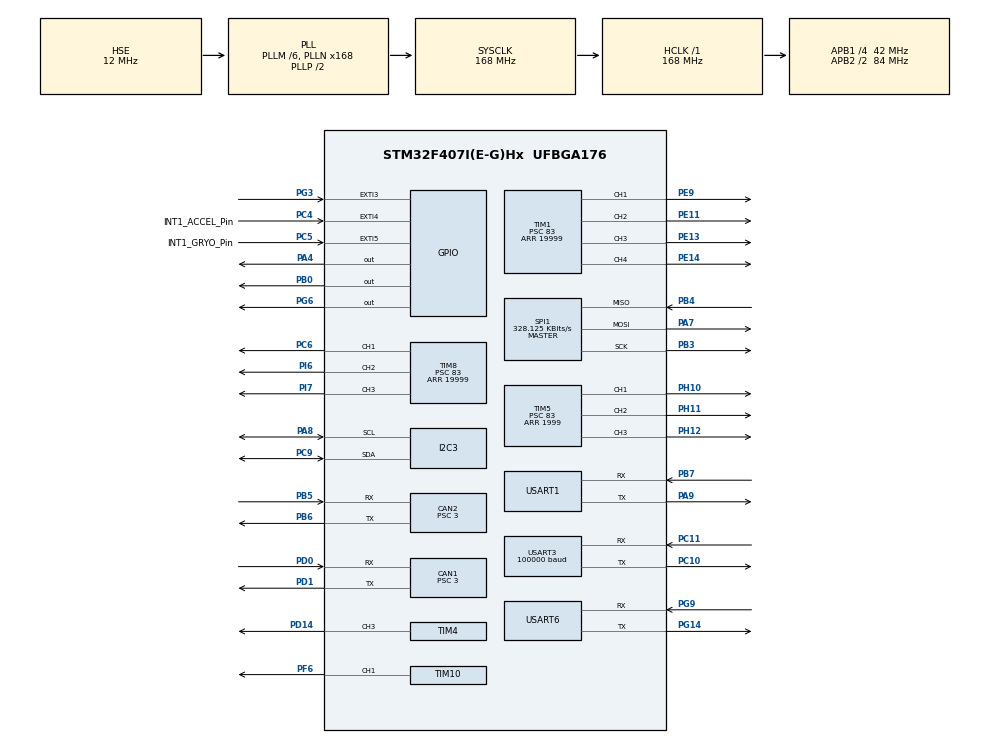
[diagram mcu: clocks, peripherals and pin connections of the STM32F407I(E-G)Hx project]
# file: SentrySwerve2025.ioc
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CAN1.BS1=CAN_BS1_10TQ
CAN1.BS2=CAN_BS2_3TQ
CAN1.CalculateBaudRate=1000000
CAN1.CalculateTimeBit=1000
CAN1.CalculateTimeQuantum=71.42857142857143
CAN1.Prescaler=3
CAN2.BS1=CAN_BS1_10TQ
CAN2.BS2=CAN_BS2_3TQ
CAN2.CalculateBaudRate=1000000
CAN2.CalculateTimeBit=1000
CAN2.CalculateTimeQuantum=71.42857142857143
CAN2.Prescaler=3
Dma.Request0=USART3_RX
Dma.Request1=USART1_TX
Dma.Request2=USART1_RX
Dma.Request3=USART6_RX
Dma.Request4=USART6_TX
Dma.Request5=TIM4_CH3
Dma.Request6=TIM5_CH1
Dma.Request7=TIM5_CH2
Dma.TIM4_CH3.5.Direction=DMA_PERIPH_TO_MEMORY
Dma.TIM4_CH3.5.FIFOMode=DMA_FIFOMODE_DISABLE
Dma.TIM4_CH3.5.Instance=DMA1_Stream7
Dma.TIM4_CH3.5.MemDataAlignment=DMA_MDATAALIGN_HALFWORD
Dma.TIM4_CH3.5.MemInc=DMA_MINC_ENABLE
Dma.TIM4_CH3.5.Mode=DMA_NORMAL
Dma.TIM4_CH3.5.PeriphDataAlignment=DMA_PDATAALIGN_HALFWORD
Dma.TIM4_CH3.5.PeriphInc=DMA_PINC_DISABLE
Dma.TIM4_CH3.5.Priority=DMA_PRIORITY_LOW
Dma.TIM5_CH1.6.Direction=DMA_PERIPH_TO_MEMORY
Dma.TIM5_CH1.6.FIFOMode=DMA_FIFOMODE_DISABLE
Dma.TIM5_CH1.6.Instance=DMA1_Stream2
Dma.TIM5_CH1.6.MemDataAlignment=DMA_MDATAALIGN_WORD
Dma.TIM5_CH1.6.MemInc=DMA_MINC_ENABLE
Dma.TIM5_CH1.6.Mode=DMA_NORMAL
Dma.TIM5_CH1.6.PeriphDataAlignment=DMA_PDATAALIGN_WORD
Dma.TIM5_CH1.6.PeriphInc=DMA_PINC_DISABLE
Dma.TIM5_CH1.6.Priority=DMA_PRIORITY_LOW
Dma.TIM5_CH2.7.Direction=DMA_PERIPH_TO_MEMORY
Dma.TIM5_CH2.7.FIFOMode=DMA_FIFOMODE_DISABLE
Dma.TIM5_CH2.7.Instance=DMA1_Stream4
Dma.TIM5_CH2.7.MemDataAlignment=DMA_MDATAALIGN_WORD
Dma.TIM5_CH2.7.MemInc=DMA_MINC_ENABLE
Dma.TIM5_CH2.7.Mode=DMA_NORMAL
Dma.TIM5_CH2.7.PeriphDataAlignment=DMA_PDATAALIGN_WORD
Dma.TIM5_CH2.7.PeriphInc=DMA_PINC_DISABLE
Dma.TIM5_CH2.7.Priority=DMA_PRIORITY_LOW
Dma.USART1_RX.2.Direction=DMA_PERIPH_TO_MEMORY
Dma.USART1_RX.2.FIFOMode=DMA_FIFOMODE_DISABLE
Dma.USART1_RX.2.Instance=DMA2_Stream2
Dma.USART1_RX.2.MemDataAlignment=DMA_MDATAALIGN_BYTE
Dma.USART1_RX.2.MemInc=DMA_MINC_ENABLE
Dma.USART1_RX.2.Mode=DMA_NORMAL
Dma.USART1_RX.2.PeriphDataAlignment=DMA_PDATAALIGN_BYTE
Dma.USART1_RX.2.PeriphInc=DMA_PINC_DISABLE
Dma.USART1_RX.2.Priority=DMA_PRIORITY_VERY_HIGH
Dma.USART1_TX.1.Direction=DMA_MEMORY_TO_PERIPH
Dma.USART1_TX.1.FIFOMode=DMA_FIFOMODE_DISABLE
Dma.USART1_TX.1.Instance=DMA2_Stream7
Dma.USART1_TX.1.MemDataAlignment=DMA_MDATAALIGN_BYTE
Dma.USART1_TX.1.MemInc=DMA_MINC_ENABLE
Dma.USART1_TX.1.Mode=DMA_NORMAL
Dma.USART1_TX.1.PeriphDataAlignment=DMA_PDATAALIGN_BYTE
Dma.USART1_TX.1.PeriphInc=DMA_PINC_DISABLE
Dma.USART1_TX.1.Priority=DMA_PRIORITY_VERY_HIGH
Dma.USART3_RX.0.Direction=DMA_PERIPH_TO_MEMORY
Dma.USART3_RX.0.FIFOMode=DMA_FIFOMODE_DISABLE
Dma.USART3_RX.0.Instance=DMA1_Stream1
Dma.USART3_RX.0.MemDataAlignment=DMA_MDATAALIGN_BYTE
Dma.USART3_RX.0.MemInc=DMA_MINC_ENABLE
Dma.USART3_RX.0.Mode=DMA_CIRCULAR
Dma.USART3_RX.0.PeriphDataAlignment=DMA_PDATAALIGN_BYTE
Dma.USART3_RX.0.PeriphInc=DMA_PINC_DISABLE
Dma.USART3_RX.0.Priority=DMA_PRIORITY_VERY_HIGH
Dma.USART6_RX.3.Direction=DMA_PERIPH_TO_MEMORY
Dma.USART6_RX.3.FIFOMode=DMA_FIFOMODE_DISABLE
Dma.USART6_RX.3.Instance=DMA2_Stream1
Dma.USART6_RX.3.MemDataAlignment=DMA_MDATAALIGN_BYTE
Dma.USART6_RX.3.MemInc=DMA_MINC_ENABLE
Dma.USART6_RX.3.Mode=DMA_NORMAL
Dma.USART6_RX.3.PeriphDataAlignment=DMA_PDATAALIGN_BYTE
Dma.USART6_RX.3.PeriphInc=DMA_PINC_DISABLE
Dma.USART6_RX.3.Priority=DMA_PRIORITY_VERY_HIGH
Dma.USART6_TX.4.Direction=DMA_MEMORY_TO_PERIPH
Dma.USART6_TX.4.FIFOMode=DMA_FIFOMODE_DISABLE
Dma.USART6_TX.4.Instance=DMA2_Stream6
Dma.USART6_TX.4.MemDataAlignment=DMA_MDATAALIGN_BYTE
Dma.USART6_TX.4.MemInc=DMA_MINC_ENABLE
Dma.USART6_TX.4.Mode=DMA_NORMAL
Dma.USART6_TX.4.PeriphDataAlignment=DMA_PDATAALIGN_BYTE
Dma.USART6_TX.4.PeriphInc=DMA_PINC_DISABLE
Dma.USART6_TX.4.Priority=DMA_PRIORITY_VERY_HIGH
FREERTOS.INCLUDE_pcTaskGetTaskName=1
FREERTOS.INCLUDE_xTaskGetHandle=1
FREERTOS.Tasks01=defaultTask,32,1024,TaskMain,Default,NULL,Dynamic,NULL,NULL;chassisTask,40,1124,TaskChassis,Default,NULL,Dynamic,NULL,NULL;IMUtempPIDtask,24,512,imu_temp_control_task,As weak,NULL,Dynamic,NULL,NULL;turretTask,40,1024,TaskTurret,Default,NULL,Dynamic,NULL,NULL
FREERTOS.configUSE_NEWLIB_REENTRANT=1
I2C3.I2C_Mode=I2C_Fast
Mcu.Family=STM32F4
Mcu.Name=STM32F407I(E-G)Hx
Mcu.Package=UFBGA176
NVIC.CAN1_RX0_IRQn=true\:5\:0\:false\:false\:true\:true\:true\:true\:true
NVIC.CAN2_RX0_IRQn=true\:5\:0\:false\:false\:true\:true\:true\:true\:true
NVIC.DMA1_Stream1_IRQn=true\:5\:0\:false\:false\:true\:true\:false\:true\:true
NVIC.DMA1_Stream2_IRQn=true\:5\:0\:false\:false\:true\:true\:false\:true\:true
NVIC.DMA1_Stream4_IRQn=true\:5\:0\:false\:false\:true\:true\:false\:true\:true
NVIC.DMA1_Stream7_IRQn=true\:5\:0\:false\:false\:true\:true\:false\:true\:true
NVIC.DMA2_Stream1_IRQn=true\:5\:0\:false\:false\:true\:true\:false\:true\:true
NVIC.DMA2_Stream2_IRQn=true\:5\:0\:false\:false\:true\:true\:false\:true\:true
NVIC.DMA2_Stream6_IRQn=true\:5\:0\:false\:false\:true\:true\:false\:true\:true
NVIC.DMA2_Stream7_IRQn=true\:5\:0\:false\:false\:true\:true\:false\:true\:true
NVIC.EXTI3_IRQn=true\:5\:0\:false\:false\:true\:true\:true\:true\:true
NVIC.EXTI4_IRQn=true\:5\:0\:false\:false\:true\:true\:true\:true\:true
NVIC.PriorityGroup=NVIC_PRIORITYGROUP_4
NVIC.USART1_IRQn=true\:5\:0\:false\:false\:true\:true\:true\:true\:true
NVIC.USART3_IRQn=true\:5\:0\:false\:false\:false\:true\:true\:true\:true
NVIC.USART6_IRQn=true\:5\:0\:false\:false\:true\:true\:true\:true\:true
PA13.Mode=Serial_Wire
PA13.Signal=SYS_JTMS-SWDIO
PA14.Mode=Serial_Wire
PA14.Signal=SYS_JTCK-SWCLK
PA4.Signal=GPIO_Output
PA7.Mode=Full_Duplex_Master
PA7.Signal=SPI1_MOSI
PA8.Mode=I2C
PA8.Signal=I2C3_SCL
PA9.Mode=Asynchronous
PA9.Signal=USART1_TX
PB0.Signal=GPIO_Output
PB3.Mode=Full_Duplex_Master
PB3.Signal=SPI1_SCK
PB4.Mode=Full_Duplex_Master
PB4.Signal=SPI1_MISO
PB5.Mode=CAN_Activate
PB5.Signal=CAN2_RX
PB6.Mode=CAN_Activate
PB6.Signal=CAN2_TX
PB7.Mode=Asynchronous
PB7.Signal=USART1_RX
PC10.Mode=Asynchronous
PC10.Signal=USART3_TX
PC11.Mode=Asynchronous
PC11.Signal=USART3_RX
PC4.GPIO_Label=INT1_ACCEL_Pin
PC4.Signal=GPXTI4
PC5.GPIO_Label=INT1_GRYO_Pin
PC5.Signal=GPXTI5
PC6.Signal=S_TIM8_CH1
PC9.Mode=I2C
PC9.Signal=I2C3_SDA
PD0.Mode=CAN_Activate
PD0.Signal=CAN1_RX
PD1.Mode=CAN_Activate
PD1.Signal=CAN1_TX
PD14.Signal=S_TIM4_CH3
PE11.Signal=S_TIM1_CH2
PE13.Signal=S_TIM1_CH3
PE14.Signal=S_TIM1_CH4
PE9.Signal=S_TIM1_CH1
PF6.GPIO_PuPd=GPIO_PULLUP
PF6.GPIO_Speed=GPIO_SPEED_FREQ_HIGH
PF6.Signal=S_TIM10_CH1
PG14.Mode=Asynchronous
PG14.Signal=USART6_TX
PG3.Signal=GPXTI3
PG6.Signal=GPIO_Output
PG9.Mode=Asynchronous
PG9.Signal=USART6_RX
PH0-OSC_IN.Mode=HSE-External-Oscillator
PH0-OSC_IN.Signal=RCC_OSC_IN
PH1-OSC_OUT.Mode=HSE-External-Oscillator
PH1-OSC_OUT.Signal=RCC_OSC_OUT
PH10.Signal=S_TIM5_CH1
PH11.Signal=S_TIM5_CH2
PH12.Signal=S_TIM5_CH3
PI6.Signal=S_TIM8_CH2
PI7.Signal=S_TIM8_CH3
ProjectManager.HeapSize=0x200
ProjectManager.StackSize=0x400
ProjectManager.TargetToolchain=STM32CubeIDE
RCC.48MHZClocksFreq_Value=84000000
RCC.AHBFreq_Value=168000000
RCC.APB1CLKDivider=RCC_HCLK_DIV4
RCC.APB1Freq_Value=42000000
RCC.APB1TimFreq_Value=84000000
RCC.APB2CLKDivider=RCC_HCLK_DIV2
RCC.APB2Freq_Value=84000000
RCC.APB2TimFreq_Value=168000000
RCC.CortexFreq_Value=168000000
RCC.EnbaleCSS=true
RCC.HCLKFreq_Value=168000000
RCC.HSE_VALUE=12000000
RCC.HSI_VALUE=16000000
RCC.LSE_VALUE=32768
RCC.PLLM=6
RCC.PLLN=168
RCC.PLLSourceVirtual=RCC_PLLSOURCE_HSE
RCC.SYSCLKFreq_VALUE=168000000
RCC.SYSCLKSource=RCC_SYSCLKSOURCE_PLLCLK
RCC.VCOOutputFreq_Value=336000000
SH.S_TIM10_CH1.0=TIM10_CH1,PWM Generation1 CH1
SH.S_TIM1_CH1.0=TIM1_CH1,PWM Generation1 CH1
SH.S_TIM1_CH2.0=TIM1_CH2,PWM Generation2 CH2
SH.S_TIM1_CH3.0=TIM1_CH3,PWM Generation3 CH3
SH.S_TIM1_CH4.0=TIM1_CH4,PWM Generation4 CH4
SH.S_TIM4_CH3.0=TIM4_CH3,PWM Generation3 CH3
SH.S_TIM5_CH1.0=TIM5_CH1,PWM Generation1 CH1
SH.S_TIM5_CH2.0=TIM5_CH2,PWM Generation2 CH2
SH.S_TIM5_CH3.0=TIM5_CH3,PWM Generation3 CH3
SH.S_TIM8_CH1.0=TIM8_CH1,PWM Generation1 CH1
SH.S_TIM8_CH2.0=TIM8_CH2,PWM Generation2 CH2
SH.S_TIM8_CH3.0=TIM8_CH3,PWM Generation3 CH3
SPI1.BaudRatePrescaler=SPI_BAUDRATEPRESCALER_256
SPI1.CLKPhase=SPI_PHASE_2EDGE
SPI1.CLKPolarity=SPI_POLARITY_HIGH
SPI1.CalculateBaudRate=328.125 KBits/s
SPI1.Direction=SPI_DIRECTION_2LINES
SPI1.Mode=SPI_MODE_MASTER
SPI1.VirtualType=VM_MASTER
TIM1.AutoReloadPreload=TIM_AUTORELOAD_PRELOAD_DISABLE
TIM1.Channel-PWM\ Generation1\ CH1=TIM_CHANNEL_1
TIM1.Channel-PWM\ Generation2\ CH2=TIM_CHANNEL_2
TIM1.Channel-PWM\ Generation3\ CH3=TIM_CHANNEL_3
TIM1.Channel-PWM\ Generation4\ CH4=TIM_CHANNEL_4
TIM1.Period=19999
TIM1.Prescaler=83
TIM1.Pulse-PWM\ Generation1\ CH1=0
TIM10.Channel=TIM_CHANNEL_1
TIM10.Period=4999
TIM4.AutoReloadPreload=TIM_AUTORELOAD_PRELOAD_ENABLE
TIM4.Channel-PWM\ Generation3\ CH3=TIM_CHANNEL_3
TIM4.Period=20999
TIM4.Prescaler=83
TIM4.Pulse-PWM\ Generation3\ CH3=10499
TIM5.Channel-PWM\ Generation1\ CH1=TIM_CHANNEL_1
TIM5.Channel-PWM\ Generation2\ CH2=TIM_CHANNEL_2
TIM5.Channel-PWM\ Generation3\ CH3=TIM_CHANNEL_3
TIM5.Period=1999
TIM5.Prescaler=83
TIM8.AutoReloadPreload=TIM_AUTORELOAD_PRELOAD_ENABLE
TIM8.Channel-PWM\ Generation1\ CH1=TIM_CHANNEL_1
TIM8.Channel-PWM\ Generation2\ CH2=TIM_CHANNEL_2
TIM8.Channel-PWM\ Generation3\ CH3=TIM_CHANNEL_3
TIM8.Period=19999
TIM8.Prescaler=83
USART1.VirtualMode=VM_ASYNC
USART3.BaudRate=100000
USART3.Parity=PARITY_EVEN
USART3.VirtualMode=VM_ASYNC
USART6.VirtualMode=VM_ASYNC
VP_FREERTOS_VS_CMSIS_V2.Mode=CMSIS_V2
VP_TIM10_VS_ClockSourceINT.Mode=Enable_Timer
VP_TIM4_VS_ClockSourceINT.Mode=Internal
board=custom

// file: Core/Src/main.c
/* USER CODE BEGIN Header */
/**
  ******************************************************************************
  * @file           : main.c
  * @brief          : Main program body
  ******************************************************************************
  * @attention
  *
  * Copyright (c) 2024 STMicroelectronics.
  * All rights reserved.
  *
  * This software is licensed under terms that can be found in the LICENSE file
  * in the root directory of this software component.
  * If no LICENSE file comes with this software, it is provided AS-IS.
  *
  ******************************************************************************
  */
/* USER CODE END Header */
#include "main.h"
#include "cmsis_os.h"

/* USER CODE BEGIN Includes */
//#include "CAN_receive.h"
#include "CAN.h"
#include "bsp_can.h"
#include "remote_control.h"
#include "bsp_rc.h"
#include "UART.h"
#include "stdio.h"
#include "stdarg.h"
#include "string.h"
#include "BMI088driver.h"
#include "pid.h"
#include "bsp_imu_pwm.h"
#include "ist8310driver.h"
#include "pwm.h"
#include "songs.h"
#include "buffer.h"
#include "math.h"
#include "driving.h"
#include "I2C.h"
#include "SWERVE.h"
/* USER CODE END Includes */

CAN_HandleTypeDef hcan1;
CAN_HandleTypeDef hcan2;

I2C_HandleTypeDef hi2c3;

SPI_HandleTypeDef hspi1;

TIM_HandleTypeDef htim1;
TIM_HandleTypeDef htim4;
TIM_HandleTypeDef htim5;
TIM_HandleTypeDef htim8;
TIM_HandleTypeDef htim10;
DMA_HandleTypeDef hdma_tim4_ch3;
DMA_HandleTypeDef hdma_tim5_ch1;
DMA_HandleTypeDef hdma_tim5_ch2;

UART_HandleTypeDef huart1;
UART_HandleTypeDef huart3;
UART_HandleTypeDef huart6;
DMA_HandleTypeDef hdma_usart1_tx;
DMA_HandleTypeDef hdma_usart1_rx;
DMA_HandleTypeDef hdma_usart3_rx;
DMA_HandleTypeDef hdma_usart6_rx;
DMA_HandleTypeDef hdma_usart6_tx;

/* Definitions for defaultTask */
osThreadId_t defaultTaskHandle;
const osThreadAttr_t defaultTask_attributes = {
  .name = "defaultTask",
  .stack_size = 1024 * 4,
  .priority = (osPriority_t) osPriorityAboveNormal,
};
/* Definitions for chassisTask */
osThreadId_t chassisTaskHandle;
const osThreadAttr_t chassisTask_attributes = {
  .name = "chassisTask",
  .stack_size = 1124 * 4,
  .priority = (osPriority_t) osPriorityHigh,
};
/* Definitions for IMUtempPIDtask */
osThreadId_t IMUtempPIDtaskHandle;
const osThreadAttr_t IMUtempPIDtask_attributes = {
  .name = "IMUtempPIDtask",
  .stack_size = 512 * 4,
  .priority = (osPriority_t) osPriorityNormal,
};
/* Definitions for turretTask */
osThreadId_t turretTaskHandle;
const osThreadAttr_t turretTask_attributes = {
  .name = "turretTask",
  .stack_size = 1024 * 4,
  .priority = (osPriority_t) osPriorityHigh,
};
/* USER CODE BEGIN PV */
const RC_ctrl_t *local_rc_ctrl;
//3.6 0.015, 4.2
PID_preset_t chassisPreset = {3.6, 0, 0};  //0.8f, 0.025f, 0.95f   {1.6, 0.045, 0.10}; 32 0.4
PID_preset_t yawPresetCurrentRPM = {46, 10.0, 16.4};

PID_preset_t yawPresetVoltageRPM = {25.0, 0.0, 0.0};

PID_preset_t yawPresetCurrentPosition = {12, 1, 0.0};
PID_preset_t yawPresetVoltagePosition = {36, 0.3, 0.0};

int16_t joystickTunner = 0;

// 50, 0, 110
PID_preset_t pitchPresetVoltagePosition = {70.0, 0.0, 421.0};
PID_preset_t indexerPreset = {1.1f, 0.02f, -2.4f};
PID_preset_t shooterPreset = {1.20f, 0.12f, 1.60f};
PID_preset_t powerPreset = {0, 0.000000000001, 0};
PID_preset_t flywheel = {12, 0, 0};
PID_preset_t customPreset = {0, 0, 0};

const int16_t maxValAllowed = 800;

extern game_status_t game_status;
extern power_heat_data_t power_heat_data;
extern robot_status_t robot_status;
extern pc_control_t pc_control;

float calcChassisPower = 0;

/* USER CODE END PV */

void SystemClock_Config(void);
static void MX_GPIO_Init(void);
static void MX_DMA_Init(void);
static void MX_CAN1_Init(void);
static void MX_CAN2_Init(void);
static void MX_SPI1_Init(void);
static void MX_TIM4_Init(void);
static void MX_USART1_UART_Init(void);
static void MX_USART6_UART_Init(void);
static void MX_TIM1_Init(void);
static void MX_TIM8_Init(void);
static void MX_USART3_UART_Init(void);
static void MX_TIM10_Init(void);
static void MX_I2C3_Init(void);
static void MX_TIM5_Init(void);
void TaskMain(void *argument);
void TaskChassis(void *argument);
void imu_temp_control_task(void *argument);
void TaskTurret(void *argument);

int main(void)
{

  /* MCU Configuration--------------------------------------------------------*/

  /* Reset of all peripherals, Initializes the Flash interface and the Systick. */
  HAL_Init();

  /* Configure the system clock */
  SystemClock_Config();

  /* Initialize all configured peripherals */
  MX_GPIO_Init();
  MX_DMA_Init();
  MX_CAN1_Init();
  MX_CAN2_Init();
  MX_SPI1_Init();
  MX_TIM4_Init();
  MX_USART1_UART_Init();
  MX_USART6_UART_Init();
  MX_TIM1_Init();
  MX_TIM8_Init();
  MX_USART3_UART_Init();
  MX_TIM10_Init();
  MX_I2C3_Init();
  MX_TIM5_Init();
  /* USER CODE BEGIN 2 */
  can_filter_init();
  remote_control_init();
  usart_Init();
  local_rc_ctrl = get_remote_control_point();
  //__HAL_UART_ENABLE_IT(&huart1,UART_IT_IDLE);
  /* USER CODE END 2 */

  /* Init scheduler */
  osKernelInitialize();

  /* Create the thread(s) */
  /* creation of defaultTask */
  defaultTaskHandle = osThreadNew(TaskMain, NULL, &defaultTask_attributes);

  /* creation of chassisTask */
  chassisTaskHandle = osThreadNew(TaskChassis, NULL, &chassisTask_attributes);

  /* creation of IMUtempPIDtask */
  IMUtempPIDtaskHandle = osThreadNew(imu_temp_control_task, NULL, &IMUtempPIDtask_attributes);

  /* creation of turretTask */
  turretTaskHandle = osThreadNew(TaskTurret, NULL, &turretTask_attributes);

  /* Start scheduler */
  osKernelStart();

  /* We should never get here as control is now taken by the scheduler */

  /* Infinite loop */
  while (1)
  {

  }
}

void SystemClock_Config(void)
{
  RCC_OscInitTypeDef RCC_OscInitStruct = {0};
  RCC_ClkInitTypeDef RCC_ClkInitStruct = {0};

  /** Configure the main internal regulator output voltage
  */
  __HAL_RCC_PWR_CLK_ENABLE();
  __HAL_PWR_VOLTAGESCALING_CONFIG(PWR_REGULATOR_VOLTAGE_SCALE1);

  /** Initializes the RCC Oscillators according to the specified parameters
  * in the RCC_OscInitTypeDef structure.
  */
  RCC_OscInitStruct.OscillatorType = RCC_OSCILLATORTYPE_HSE;
  RCC_OscInitStruct.HSEState = RCC_HSE_ON;
  RCC_OscInitStruct.PLL.PLLState = RCC_PLL_ON;
  RCC_OscInitStruct.PLL.PLLSource = RCC_PLLSOURCE_HSE;
  RCC_OscInitStruct.PLL.PLLM = 6;
  RCC_OscInitStruct.PLL.PLLN = 168;
  RCC_OscInitStruct.PLL.PLLP = RCC_PLLP_DIV2;
  RCC_OscInitStruct.PLL.PLLQ = 4;
  if (HAL_RCC_OscConfig(&RCC_OscInitStruct) != HAL_OK)
  {
    Error_Handler();
  }

  /** Initializes the CPU, AHB and APB buses clocks
  */
  RCC_ClkInitStruct.ClockType = RCC_CLOCKTYPE_HCLK|RCC_CLOCKTYPE_SYSCLK
                              |RCC_CLOCKTYPE_PCLK1|RCC_CLOCKTYPE_PCLK2;
  RCC_ClkInitStruct.SYSCLKSource = RCC_SYSCLKSOURCE_PLLCLK;
  RCC_ClkInitStruct.AHBCLKDivider = RCC_SYSCLK_DIV1;
  RCC_ClkInitStruct.APB1CLKDivider = RCC_HCLK_DIV4;
  RCC_ClkInitStruct.APB2CLKDivider = RCC_HCLK_DIV2;

  if (HAL_RCC_ClockConfig(&RCC_ClkInitStruct, FLASH_LATENCY_5) != HAL_OK)
  {
    Error_Handler();
  }

  /** Enables the Clock Security System
  */
  HAL_RCC_EnableCSS();
}

static void MX_CAN1_Init(void)
{

  hcan1.Instance = CAN1;
  hcan1.Init.Prescaler = 3;
  hcan1.Init.Mode = CAN_MODE_NORMAL;
  hcan1.Init.SyncJumpWidth = CAN_SJW_1TQ;
  hcan1.Init.TimeSeg1 = CAN_BS1_10TQ;
  hcan1.Init.TimeSeg2 = CAN_BS2_3TQ;
  hcan1.Init.TimeTriggeredMode = DISABLE;
  hcan1.Init.AutoBusOff = DISABLE;
  hcan1.Init.AutoWakeUp = DISABLE;
  hcan1.Init.AutoRetransmission = DISABLE;
  hcan1.Init.ReceiveFifoLocked = DISABLE;
  hcan1.Init.TransmitFifoPriority = DISABLE;
  if (HAL_CAN_Init(&hcan1) != HAL_OK)
  {
    Error_Handler();
  }

}

static void MX_CAN2_Init(void)
{

  hcan2.Instance = CAN2;
  hcan2.Init.Prescaler = 3;
  hcan2.Init.Mode = CAN_MODE_NORMAL;
  hcan2.Init.SyncJumpWidth = CAN_SJW_1TQ;
  hcan2.Init.TimeSeg1 = CAN_BS1_10TQ;
  hcan2.Init.TimeSeg2 = CAN_BS2_3TQ;
  hcan2.Init.TimeTriggeredMode = DISABLE;
  hcan2.Init.AutoBusOff = DISABLE;
  hcan2.Init.AutoWakeUp = DISABLE;
  hcan2.Init.AutoRetransmission = DISABLE;
  hcan2.Init.ReceiveFifoLocked = DISABLE;
  hcan2.Init.TransmitFifoPriority = DISABLE;
  if (HAL_CAN_Init(&hcan2) != HAL_OK)
  {
    Error_Handler();
  }

}

static void MX_I2C3_Init(void)
{

  hi2c3.Instance = I2C3;
  hi2c3.Init.ClockSpeed = 400000;
  hi2c3.Init.DutyCycle = I2C_DUTYCYCLE_2;
  hi2c3.Init.OwnAddress1 = 0;
  hi2c3.Init.AddressingMode = I2C_ADDRESSINGMODE_7BIT;
  hi2c3.Init.DualAddressMode = I2C_DUALADDRESS_DISABLE;
  hi2c3.Init.OwnAddress2 = 0;
  hi2c3.Init.GeneralCallMode = I2C_GENERALCALL_DISABLE;
  hi2c3.Init.NoStretchMode = I2C_NOSTRETCH_DISABLE;
  if (HAL_I2C_Init(&hi2c3) != HAL_OK)
  {
    Error_Handler();
  }

}

static void MX_SPI1_Init(void)
{

  /* SPI1 parameter configuration*/
  hspi1.Instance = SPI1;
  hspi1.Init.Mode = SPI_MODE_MASTER;
  hspi1.Init.Direction = SPI_DIRECTION_2LINES;
  hspi1.Init.DataSize = SPI_DATASIZE_8BIT;
  hspi1.Init.CLKPolarity = SPI_POLARITY_HIGH;
  hspi1.Init.CLKPhase = SPI_PHASE_2EDGE;
  hspi1.Init.NSS = SPI_NSS_SOFT;
  hspi1.Init.BaudRatePrescaler = SPI_BAUDRATEPRESCALER_256;
  hspi1.Init.FirstBit = SPI_FIRSTBIT_MSB;
  hspi1.Init.TIMode = SPI_TIMODE_DISABLE;
  hspi1.Init.CRCCalculation = SPI_CRCCALCULATION_DISABLE;
  hspi1.Init.CRCPolynomial = 10;
  if (HAL_SPI_Init(&hspi1) != HAL_OK)
  {
    Error_Handler();
  }

}

static void MX_TIM1_Init(void)
{

  TIM_MasterConfigTypeDef sMasterConfig = {0};
  TIM_OC_InitTypeDef sConfigOC = {0};
  TIM_BreakDeadTimeConfigTypeDef sBreakDeadTimeConfig = {0};

  htim1.Instance = TIM1;
  htim1.Init.Prescaler = 83;
  htim1.Init.CounterMode = TIM_COUNTERMODE_UP;
  htim1.Init.Period = 19999;
  htim1.Init.ClockDivision = TIM_CLOCKDIVISION_DIV1;
  htim1.Init.RepetitionCounter = 0;
  htim1.Init.AutoReloadPreload = TIM_AUTORELOAD_PRELOAD_DISABLE;
  if (HAL_TIM_PWM_Init(&htim1) != HAL_OK)
  {
    Error_Handler();
  }
  sMasterConfig.MasterOutputTrigger = TIM_TRGO_RESET;
  sMasterConfig.MasterSlaveMode = TIM_MASTERSLAVEMODE_DISABLE;
  if (HAL_TIMEx_MasterConfigSynchronization(&htim1, &sMasterConfig) != HAL_OK)
  {
    Error_Handler();
  }
  sConfigOC.OCMode = TIM_OCMODE_PWM1;
  sConfigOC.Pulse = 0;
  sConfigOC.OCPolarity = TIM_OCPOLARITY_HIGH;
  sConfigOC.OCNPolarity = TIM_OCNPOLARITY_HIGH;
  sConfigOC.OCFastMode = TIM_OCFAST_DISABLE;
  sConfigOC.OCIdleState = TIM_OCIDLESTATE_RESET;
  sConfigOC.OCNIdleState = TIM_OCNIDLESTATE_RESET;
  if (HAL_TIM_PWM_ConfigChannel(&htim1, &sConfigOC, TIM_CHANNEL_1) != HAL_OK)
  {
    Error_Handler();
  }
  if (HAL_TIM_PWM_ConfigChannel(&htim1, &sConfigOC, TIM_CHANNEL_2) != HAL_OK)
  {
    Error_Handler();
  }
  if (HAL_TIM_PWM_ConfigChannel(&htim1, &sConfigOC, TIM_CHANNEL_3) != HAL_OK)
  {
    Error_Handler();
  }
  if (HAL_TIM_PWM_ConfigChannel(&htim1, &sConfigOC, TIM_CHANNEL_4) != HAL_OK)
  {
    Error_Handler();
  }
  sBreakDeadTimeConfig.OffStateRunMode = TIM_OSSR_DISABLE;
  sBreakDeadTimeConfig.OffStateIDLEMode = TIM_OSSI_DISABLE;
  sBreakDeadTimeConfig.LockLevel = TIM_LOCKLEVEL_OFF;
  sBreakDeadTimeConfig.DeadTime = 0;
  sBreakDeadTimeConfig.BreakState = TIM_BREAK_DISABLE;
  sBreakDeadTimeConfig.BreakPolarity = TIM_BREAKPOLARITY_HIGH;
  sBreakDeadTimeConfig.AutomaticOutput = TIM_AUTOMATICOUTPUT_DISABLE;
  if (HAL_TIMEx_ConfigBreakDeadTime(&htim1, &sBreakDeadTimeConfig) != HAL_OK)
  {
    Error_Handler();
  }
  HAL_TIM_MspPostInit(&htim1);

}

static void MX_TIM4_Init(void)
{

  TIM_ClockConfigTypeDef sClockSourceConfig = {0};
  TIM_MasterConfigTypeDef sMasterConfig = {0};
  TIM_OC_InitTypeDef sConfigOC = {0};

  htim4.Instance = TIM4;
  htim4.Init.Prescaler = 83;
  htim4.Init.CounterMode = TIM_COUNTERMODE_UP;
  htim4.Init.Period = 20999;
  htim4.Init.ClockDivision = TIM_CLOCKDIVISION_DIV1;
  htim4.Init.AutoReloadPreload = TIM_AUTORELOAD_PRELOAD_ENABLE;
  if (HAL_TIM_Base_Init(&htim4) != HAL_OK)
  {
    Error_Handler();
  }
  sClockSourceConfig.ClockSource = TIM_CLOCKSOURCE_INTERNAL;
  if (HAL_TIM_ConfigClockSource(&htim4, &sClockSourceConfig) != HAL_OK)
  {
    Error_Handler();
  }
  if (HAL_TIM_PWM_Init(&htim4) != HAL_OK)
  {
    Error_Handler();
  }
  sMasterConfig.MasterOutputTrigger = TIM_TRGO_RESET;
  sMasterConfig.MasterSlaveMode = TIM_MASTERSLAVEMODE_DISABLE;
  if (HAL_TIMEx_MasterConfigSynchronization(&htim4, &sMasterConfig) != HAL_OK)
  {
    Error_Handler();
  }
  sConfigOC.OCMode = TIM_OCMODE_PWM1;
  sConfigOC.Pulse = 10499;
  sConfigOC.OCPolarity = TIM_OCPOLARITY_HIGH;
  sConfigOC.OCFastMode = TIM_OCFAST_DISABLE;
  if (HAL_TIM_PWM_ConfigChannel(&htim4, &sConfigOC, TIM_CHANNEL_3) != HAL_OK)
  {
    Error_Handler();
  }
  HAL_TIM_MspPostInit(&htim4);

}

static void MX_TIM5_Init(void)
{

  TIM_MasterConfigTypeDef sMasterConfig = {0};
  TIM_OC_InitTypeDef sConfigOC = {0};

  htim5.Instance = TIM5;
  htim5.Init.Prescaler = 83;
  htim5.Init.CounterMode = TIM_COUNTERMODE_UP;
  htim5.Init.Period = 1999;
  htim5.Init.ClockDivision = TIM_CLOCKDIVISION_DIV1;
  htim5.Init.AutoReloadPreload = TIM_AUTORELOAD_PRELOAD_DISABLE;
  if (HAL_TIM_PWM_Init(&htim5) != HAL_OK)
  {
    Error_Handler();
  }
  sMasterConfig.MasterOutputTrigger = TIM_TRGO_RESET;
  sMasterConfig.MasterSlaveMode = TIM_MASTERSLAVEMODE_DISABLE;
  if (HAL_TIMEx_MasterConfigSynchronization(&htim5, &sMasterConfig) != HAL_OK)
  {
    Error_Handler();
  }
  sConfigOC.OCMode = TIM_OCMODE_PWM1;
  sConfigOC.Pulse = 0;
  sConfigOC.OCPolarity = TIM_OCPOLARITY_HIGH;
  sConfigOC.OCFastMode = TIM_OCFAST_DISABLE;
  if (HAL_TIM_PWM_ConfigChannel(&htim5, &sConfigOC, TIM_CHANNEL_1) != HAL_OK)
  {
    Error_Handler();
  }
  if (HAL_TIM_PWM_ConfigChannel(&htim5, &sConfigOC, TIM_CHANNEL_2) != HAL_OK)
  {
    Error_Handler();
  }
  if (HAL_TIM_PWM_ConfigChannel(&htim5, &sConfigOC, TIM_CHANNEL_3) != HAL_OK)
  {
    Error_Handler();
  }
  HAL_TIM_MspPostInit(&htim5);

}

static void MX_TIM8_Init(void)
{

  TIM_MasterConfigTypeDef sMasterConfig = {0};
  TIM_OC_InitTypeDef sConfigOC = {0};
  TIM_BreakDeadTimeConfigTypeDef sBreakDeadTimeConfig = {0};

  htim8.Instance = TIM8;
  htim8.Init.Prescaler = 83;
  htim8.Init.CounterMode = TIM_COUNTERMODE_UP;
  htim8.Init.Period = 19999;
  htim8.Init.ClockDivision = TIM_CLOCKDIVISION_DIV1;
  htim8.Init.RepetitionCounter = 0;
  htim8.Init.AutoReloadPreload = TIM_AUTORELOAD_PRELOAD_ENABLE;
  if (HAL_TIM_PWM_Init(&htim8) != HAL_OK)
  {
    Error_Handler();
  }
  sMasterConfig.MasterOutputTrigger = TIM_TRGO_RESET;
  sMasterConfig.MasterSlaveMode = TIM_MASTERSLAVEMODE_DISABLE;
  if (HAL_TIMEx_MasterConfigSynchronization(&htim8, &sMasterConfig) != HAL_OK)
  {
    Error_Handler();
  }
  sConfigOC.OCMode = TIM_OCMODE_PWM1;
  sConfigOC.Pulse = 0;
  sConfigOC.OCPolarity = TIM_OCPOLARITY_HIGH;
  sConfigOC.OCNPolarity = TIM_OCNPOLARITY_HIGH;
  sConfigOC.OCFastMode = TIM_OCFAST_DISABLE;
  sConfigOC.OCIdleState = TIM_OCIDLESTATE_RESET;
  sConfigOC.OCNIdleState = TIM_OCNIDLESTATE_RESET;
  if (HAL_TIM_PWM_ConfigChannel(&htim8, &sConfigOC, TIM_CHANNEL_1) != HAL_OK)
  {
    Error_Handler();
  }
  if (HAL_TIM_PWM_ConfigChannel(&htim8, &sConfigOC, TIM_CHANNEL_2) != HAL_OK)
  {
    Error_Handler();
  }
  if (HAL_TIM_PWM_ConfigChannel(&htim8, &sConfigOC, TIM_CHANNEL_3) != HAL_OK)
  {
    Error_Handler();
  }
  sBreakDeadTimeConfig.OffStateRunMode = TIM_OSSR_DISABLE;
  sBreakDeadTimeConfig.OffStateIDLEMode = TIM_OSSI_DISABLE;
  sBreakDeadTimeConfig.LockLevel = TIM_LOCKLEVEL_OFF;
  sBreakDeadTimeConfig.DeadTime = 0;
  sBreakDeadTimeConfig.BreakState = TIM_BREAK_DISABLE;
  sBreakDeadTimeConfig.BreakPolarity = TIM_BREAKPOLARITY_HIGH;
  sBreakDeadTimeConfig.AutomaticOutput = TIM_AUTOMATICOUTPUT_DISABLE;
  if (HAL_TIMEx_ConfigBreakDeadTime(&htim8, &sBreakDeadTimeConfig) != HAL_OK)
  {
    Error_Handler();
  }
  HAL_TIM_MspPostInit(&htim8);

}

static void MX_TIM10_Init(void)
{

  TIM_OC_InitTypeDef sConfigOC = {0};

  htim10.Instance = TIM10;
  htim10.Init.Prescaler = 0;
  htim10.Init.CounterMode = TIM_COUNTERMODE_UP;
  htim10.Init.Period = 4999;
  htim10.Init.ClockDivision = TIM_CLOCKDIVISION_DIV1;
  htim10.Init.AutoReloadPreload = TIM_AUTORELOAD_PRELOAD_DISABLE;
  if (HAL_TIM_Base_Init(&htim10) != HAL_OK)
  {
    Error_Handler();
  }
  if (HAL_TIM_PWM_Init(&htim10) != HAL_OK)
  {
    Error_Handler();
  }
  sConfigOC.OCMode = TIM_OCMODE_PWM1;
  sConfigOC.Pulse = 0;
  sConfigOC.OCPolarity = TIM_OCPOLARITY_HIGH;
  sConfigOC.OCFastMode = TIM_OCFAST_DISABLE;
  if (HAL_TIM_PWM_ConfigChannel(&htim10, &sConfigOC, TIM_CHANNEL_1) != HAL_OK)
  {
    Error_Handler();
  }
  HAL_TIM_MspPostInit(&htim10);

}

static void MX_USART1_UART_Init(void)
{

  huart1.Instance = USART1;
  huart1.Init.BaudRate = 115200;
  huart1.Init.WordLength = UART_WORDLENGTH_8B;
  huart1.Init.StopBits = UART_STOPBITS_1;
  huart1.Init.Parity = UART_PARITY_NONE;
  huart1.Init.Mode = UART_MODE_TX_RX;
  huart1.Init.HwFlowCtl = UART_HWCONTROL_NONE;
  huart1.Init.OverSampling = UART_OVERSAMPLING_16;
  if (HAL_UART_Init(&huart1) != HAL_OK)
  {
    Error_Handler();
  }

}

static void MX_USART3_UART_Init(void)
{

  huart3.Instance = USART3;
  huart3.Init.BaudRate = 100000;
  huart3.Init.WordLength = UART_WORDLENGTH_8B;
  huart3.Init.StopBits = UART_STOPBITS_1;
  huart3.Init.Parity = UART_PARITY_EVEN;
  huart3.Init.Mode = UART_MODE_TX_RX;
  huart3.Init.HwFlowCtl = UART_HWCONTROL_NONE;
  huart3.Init.OverSampling = UART_OVERSAMPLING_16;
  if (HAL_UART_Init(&huart3) != HAL_OK)
  {
    Error_Handler();
  }

}

static void MX_USART6_UART_Init(void)
{

  huart6.Instance = USART6;
  huart6.Init.BaudRate = 115200;
  huart6.Init.WordLength = UART_WORDLENGTH_8B;
  huart6.Init.StopBits = UART_STOPBITS_1;
  huart6.Init.Parity = UART_PARITY_NONE;
  huart6.Init.Mode = UART_MODE_TX_RX;
  huart6.Init.HwFlowCtl = UART_HWCONTROL_NONE;
  huart6.Init.OverSampling = UART_OVERSAMPLING_16;
  if (HAL_UART_Init(&huart6) != HAL_OK)
  {
    Error_Handler();
  }

}

static void MX_DMA_Init(void)
{

  /* DMA controller clock enable */
  __HAL_RCC_DMA1_CLK_ENABLE();
  __HAL_RCC_DMA2_CLK_ENABLE();

  /* DMA interrupt init */
  /* DMA1_Stream1_IRQn interrupt configuration */
  HAL_NVIC_SetPriority(DMA1_Stream1_IRQn, 5, 0);
  HAL_NVIC_EnableIRQ(DMA1_Stream1_IRQn);
  /* DMA1_Stream2_IRQn interrupt configuration */
  HAL_NVIC_SetPriority(DMA1_Stream2_IRQn, 5, 0);
  HAL_NVIC_EnableIRQ(DMA1_Stream2_IRQn);
  /* DMA1_Stream4_IRQn interrupt configuration */
  HAL_NVIC_SetPriority(DMA1_Stream4_IRQn, 5, 0);
  HAL_NVIC_EnableIRQ(DMA1_Stream4_IRQn);
  /* DMA1_Stream7_IRQn interrupt configuration */
  HAL_NVIC_SetPriority(DMA1_Stream7_IRQn, 5, 0);
  HAL_NVIC_EnableIRQ(DMA1_Stream7_IRQn);
  /* DMA2_Stream1_IRQn interrupt configuration */
  HAL_NVIC_SetPriority(DMA2_Stream1_IRQn, 5, 0);
  HAL_NVIC_EnableIRQ(DMA2_Stream1_IRQn);
  /* DMA2_Stream2_IRQn interrupt configuration */
  HAL_NVIC_SetPriority(DMA2_Stream2_IRQn, 5, 0);
  HAL_NVIC_EnableIRQ(DMA2_Stream2_IRQn);
  /* DMA2_Stream6_IRQn interrupt configuration */
  HAL_NVIC_SetPriority(DMA2_Stream6_IRQn, 5, 0);
  HAL_NVIC_EnableIRQ(DMA2_Stream6_IRQn);
  /* DMA2_Stream7_IRQn interrupt configuration */
  HAL_NVIC_SetPriority(DMA2_Stream7_IRQn, 5, 0);
  HAL_NVIC_EnableIRQ(DMA2_Stream7_IRQn);

}

static void MX_GPIO_Init(void)
{
  GPIO_InitTypeDef GPIO_InitStruct = {0};

  /* GPIO Ports Clock Enable */
  __HAL_RCC_GPIOB_CLK_ENABLE();
  __HAL_RCC_GPIOG_CLK_ENABLE();
  __HAL_RCC_GPIOA_CLK_ENABLE();
  __HAL_RCC_GPIOD_CLK_ENABLE();
  __HAL_RCC_GPIOC_CLK_ENABLE();
  __HAL_RCC_GPIOI_CLK_ENABLE();
  __HAL_RCC_GPIOH_CLK_ENABLE();
  __HAL_RCC_GPIOF_CLK_ENABLE();
  __HAL_RCC_GPIOE_CLK_ENABLE();

  /*Configure GPIO pin Output Level */
  HAL_GPIO_WritePin(GPIOG, GPIO_PIN_6, GPIO_PIN_RESET);

  /*Configure GPIO pin Output Level */
  HAL_GPIO_WritePin(GPIOA, GPIO_PIN_4, GPIO_PIN_RESET);

  /*Configure GPIO pin Output Level */
  HAL_GPIO_WritePin(GPIOB, GPIO_PIN_0, GPIO_PIN_RESET);

  /*Configure GPIO pin : PG6 */
  GPIO_InitStruct.Pin = GPIO_PIN_6;
  GPIO_InitStruct.Mode = GPIO_MODE_OUTPUT_PP;
  GPIO_InitStruct.Pull = GPIO_NOPULL;
  GPIO_InitStruct.Speed = GPIO_SPEED_FREQ_LOW;
  HAL_GPIO_Init(GPIOG, &GPIO_InitStruct);

  /*Configure GPIO pin : PG3 */
  GPIO_InitStruct.Pin = GPIO_PIN_3;
  GPIO_InitStruct.Mode = GPIO_MODE_IT_RISING;
  GPIO_InitStruct.Pull = GPIO_NOPULL;
  HAL_GPIO_Init(GPIOG, &GPIO_InitStruct);

  /*Configure GPIO pin : PA4 */
  GPIO_InitStruct.Pin = GPIO_PIN_4;
  GPIO_InitStruct.Mode = GPIO_MODE_OUTPUT_PP;
  GPIO_InitStruct.Pull = GPIO_NOPULL;
  GPIO_InitStruct.Speed = GPIO_SPEED_FREQ_LOW;
  HAL_GPIO_Init(GPIOA, &GPIO_InitStruct);

  /*Configure GPIO pins : INT1_ACCEL_Pin_Pin INT1_GRYO_Pin_Pin */
  GPIO_InitStruct.Pin = INT1_ACCEL_Pin_Pin|INT1_GRYO_Pin_Pin;
  GPIO_InitStruct.Mode = GPIO_MODE_IT_RISING;
  GPIO_InitStruct.Pull = GPIO_NOPULL;
  HAL_GPIO_Init(GPIOC, &GPIO_InitStruct);

  /*Configure GPIO pin : PB0 */
  GPIO_InitStruct.Pin = GPIO_PIN_0;
  GPIO_InitStruct.Mode = GPIO_MODE_OUTPUT_PP;
  GPIO_InitStruct.Pull = GPIO_NOPULL;
  GPIO_InitStruct.Speed = GPIO_SPEED_FREQ_LOW;
  HAL_GPIO_Init(GPIOB, &GPIO_InitStruct);

  /* EXTI interrupt init*/
  HAL_NVIC_SetPriority(EXTI3_IRQn, 5, 0);
  HAL_NVIC_EnableIRQ(EXTI3_IRQn);

  HAL_NVIC_SetPriority(EXTI4_IRQn, 5, 0);
  HAL_NVIC_EnableIRQ(EXTI4_IRQn);

}

/* USER CODE BEGIN 4 */

/*
float determiningTrigAngle (int16_t motorAngle[5]) {
	if (motorAngle[0] < 0 && motorAngle[1] < 0) {
		return (-M_PI + atanf(((float)motorAngle[0])/((float)motorAngle[1])));
	} else if (motorAngle[0] >= 0 && motorAngle[1] < 0) {
		return (M_PI + atanf(((float)motorAngle[0])/((float)motorAngle[1])));
	} else if (motorAngle[0] == 0 && motorAngle[1] == 0) {
		return 0;
	} else {
		return atanf(((float)motorAngle[0])/((float)motorAngle[1]));
	}
}

int16_t wheelRotation (int16_t currentRotation, int16_t destinationRotation) {
	int8_t newTargetRotationCounter = 0;
	int16_t ACD = abs(destinationRotation - currentRotation);
	int16_t ALD = abs((destinationRotation - 8191) - currentRotation);
	int16_t AUD = abs((destinationRotation + 8191) - currentRotation);
	if (ACD < ALD && ACD < AUD) { // Normal Delta is best case
		newTargetRotationCounter = 0;
	} else if (ALD < ACD && ALD < AUD) { // Lower Delta (Flip) is best case
		newTargetRotationCounter = -1;
	} else { // Upper Delta is best case here
		newTargetRotationCounter = 1;
	}
    return ((destinationRotation + (8191*newTargetRotationCounter)) - currentRotation);
}

float swerveScaler (int16_t motorInfo[4][5]) {
	int16_t largestVal = 0;
	for (int8_t i = 0; i < 4; i++) {
		if (motorInfo[i][2] > largestVal) {
			largestVal = motorInfo[i][2];
		}
	}

	// usart_printf("Hello %d there!\r\n", 5);
	if (largestVal <= maxValAllowed) {
		return 1;
	} else {
		return ((float)(maxValAllowed)/(float)(largestVal));
	}
}

int16_t PD (MotorType_ID motorType, int16_t *previousDelta, int16_t currentDelta, float kP, float kD) {

	return applyCtrlLimit(motorType, (currentDelta*kP + (*previousDelta - currentDelta)*kD));
}
*/
/* USER CODE END 4 */

void TaskMain(void *argument)
{
  /* USER CODE BEGIN 5 */

	for(;;) {
		osDelay(5);
		// usart_printf("%d, %d, %d, %d, %d, %d, %d\r\n", getRCfakechannel(0), getRCfakechannel(1), getRCfakechannel(2), getRCfakechannel(3), getRCfakechannel(4), getRCfakechannel(5), getRCfakechannel(6));

	}
  /* USER CODE END 5 */
}

void TaskChassis(void *argument)
{
  /* USER CODE BEGIN TaskChassis */
	PWMInit(&htim1, &htim4, &htim5, &htim8);

	PID_preset_t test = {5.0, 0.0, 0.0};
	PID_preset_t test2 = {500.0, 0.0, 120.0};

	//
	int16_t wheelPrev[8] = {0, 0, 0, 0, 0, 0, 0, 0};

	/*  Fronts
		1   0

		2   3
	*/

	int8_t rotationVectors[4][2] =  {{1,  -1},
							 		 {1,   1},
									 {-1,  1},
									 {-1, -1}};

	int16_t forwardsID[4] = {380, 5070, 348, 5140};

	// [MotorID][0 = MotorXVal, 1 = MotorYVal, 2 = MotorABSVal, 3 = MotorConvertedAngle], 4 = Reversal Of Motor
	int16_t motorInfo[4][5];
	int16_t DP[3] = {0, 0, 0};
	int8_t noVelocity = 0;
	int16_t axiesMod[3] = {0, 0, 0};

  /* Infinite loop */
    for(;;) {

		int16_t FB = getRCfakechannel(0);
		int16_t LR = getRCfakechannel(1);
		int16_t Rotate = getRCfakechannel(3);

		// usart_printf("%d, %d, %d, %d\r\n", getRCfakechannel(0),getRCfakechannel(1),getRCfakechannel(2),getRCfakechannel(3));

		axiesMod[0] = getRCfakechannel(0);
		axiesMod[1] = getRCfakechannel(1);
		axiesMod[2] = getRCfakechannel(3);

		Loop(axiesMod);
		// int8_t altDrivingMode = getRCswitch(0);

		/*
		 * Checks if All joystick Values are 0 to make the wheels maintain last orientation
		 */
		/*
		if (FB == 0 && LR == 0 && Rotate == 0) {
			FB = DP[0];
			LR = DP[1];
			Rotate = DP[2];
			noVelocity = 1;
		} else {
			noVelocity = 0;
		}
		DP[0] = FB;
		DP[1] = LR;
		DP[2] = Rotate;
		*/
		/*
		 * Starts by Calculating the motors X and Y Values.
		 * Then it Calculates the ABS value of the motors.
		 * Unless Velocity is 0 in which it'll then just not rotate the Motors and set the ABS value to 0
		 */
		/*
		for (int8_t i = 0; i < 4; i++ ) {
			motorInfo[i][0] = LR + (Rotate * rotationVectors[i][0]);
			motorInfo[i][1] = FB + (Rotate * rotationVectors[i][1]);
			if (noVelocity == 0) {
				motorInfo[i][2] = (int16_t)(sqrtf((float)((motorInfo[i][0]*motorInfo[i][0])+(motorInfo[i][1]*motorInfo[i][1]))));
			} else {
				motorInfo[i][2] = 0;
			}
		}
		*/
		/*
		 * Scales ABS values of the Motor Speeds
		 */
		// float SScalerVal = swerveScaler(motorInfo);

		// Swerve Motor

		/*
		 * Finds the appropriate Angle for each wheel
		 * Secondly it converts it into encoder increments
		 * Next it adds the offsets.
		 *
		 * Finally it makes sure that all values are within the min and max of the encoder
		 */
		/*
		for (int8_t j = 0; j < 4; j++) {
			// Scales Motor Speed Output
			// 800*11.25 = 9000
			motorInfo[j][2] = (float)motorInfo[j][2] * SScalerVal * 11.25;

			int16_t trigAng = (int16_t)(4095.5f*(determiningTrigAngle(motorInfo[j])/M_PI));

			int16_t tempAngle = trigAng+forwardsID[j];
			if (tempAngle > 8191) {
				tempAngle = tempAngle-8191;
			} else if (tempAngle < 0) {
				tempAngle = tempAngle+8191;
			}
			motorInfo[j][3] = tempAngle;
		}
		*/
		// Drive Motor

		/*
		 * This function outputs the power to the wheels.
		 * wheelRotation fines the optimal direction to rotate to
		 */
		/*
		for (int8_t k = 0; k < 4; k++) {
			CAN_setMotorCtrlVal(Bus1, GM6020, k+1, PD(GM6020, &wheelPrev[k], wheelRotation (getRotorPosition(Bus1, GM6020, k+1), motorInfo[k][3]), 20, 10));
			if (motorInfo[k][4] == 1) {
				setMotorRPM(Bus1, M3508, k+1, -1*motorInfo[k][2], test);
			} else {
				setMotorRPM(Bus1, M3508, k+1, motorInfo[k][2], test);
			}
		}
		*/
		//setMotorRPM(Bus1, M3508, 3, 500, test);
		// setMotorRPM(Bus1, M3508, 3, 500, test);

		// usart_printf("Motor1Angle: %d\r\n", motorInfo[0][3]);
    	// usart_printf("FB: %d   LR: %d   Rot: %d\r\n", FB, LR, Rotate);
    	// usart_printf("M1x: %d| M1y: %d| M1Speed: %d\r\nM2x: %d| M2y: %d| M2Speed: %d\r\nM3x: %d| M3y: %d| M3Speed: %d\r\nM4x: %d| M4y: %d| M4Speed: %d\r\n\r\n", motorInfo[0][0], motorInfo[0][1], motorInfo[0][2], motorInfo[1][0], motorInfo[1][1], motorInfo[1][2], motorInfo[2][0], motorInfo[2][1], motorInfo[2][2], motorInfo[3][0], motorInfo[3][1], motorInfo[3][2]);
    	// usart_printf("Scaler = %d\r\n", (int16_t)(SScalerVal*100));

		PWMTimerStarter();
		RCkeysRefresh();
        osDelay(10);
    }

  /* USER CODE END TaskChassis */
}

__weak void imu_temp_control_task(void *argument)
{
  for(;;)
  {
    osDelay(1);
  }
}

void TaskTurret(void *argument)
{
  /* USER CODE BEGIN TaskTurret */
	// JoulesBuffer = 60;
  /* Infinite loop */
	for(;;)
	{
		osDelay(5);
	}
  /* USER CODE END TaskTurret */
}

void Error_Handler(void)
{
  __disable_irq();
  while (1)
  {
  }
}
